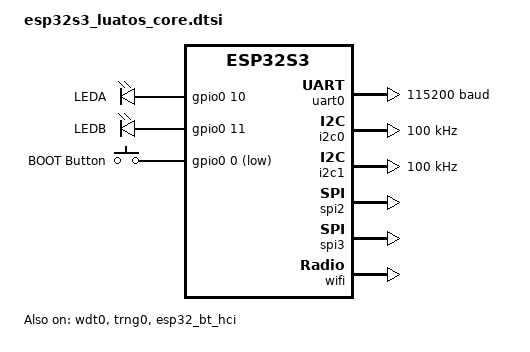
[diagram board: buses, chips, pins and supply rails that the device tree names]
/*
 * Copyright (c) 2023 YuLong Yao <feilongphone@gmail.com>
 *
 * SPDX-License-Identifier: Apache-2.0
 */

#include <espressif/esp32s3/esp32s3_mini_n8.dtsi>
#include "esp32s3_luatos_core-pinctrl.dtsi"
#include <zephyr/dt-bindings/input/input-event-codes.h>
#include <espressif/partitions_0x0_amp.dtsi>

/ {
	leds {
		compatible = "gpio-leds";

		led0: led0 {
			gpios = <&gpio0 10 GPIO_ACTIVE_HIGH>;
			label = "LEDA";
		};

		led1: led1 {
			gpios = <&gpio0 11 GPIO_ACTIVE_HIGH>;
			label = "LEDB";
		};
	};

	buttons {
		compatible = "gpio-keys";

		button0: button_0 {
			gpios = <&gpio0 0 (GPIO_PULL_UP | GPIO_ACTIVE_LOW)>;
			label = "BOOT Button";
			zephyr,code = <INPUT_KEY_0>;
		};
	};
};

&uart0 {
	status = "okay";
	current-speed = <115200>;
	pinctrl-0 = <&uart0_default>;
	pinctrl-names = "default";
};

&gpio0 {
	status = "okay";
};

&gpio1 {
	status = "okay";
};

&i2c0 {
	clock-frequency = <I2C_BITRATE_STANDARD>;
	pinctrl-0 = <&i2c0_default>;
	pinctrl-names = "default";
};

&i2c1 {
	clock-frequency = <I2C_BITRATE_STANDARD>;
	pinctrl-0 = <&i2c1_default>;
	pinctrl-names = "default";
};

&spi2 {
	#address-cells = <1>;
	#size-cells = <0>;
	status = "okay";
	pinctrl-0 = <&spim2_default>;
	pinctrl-names = "default";
};

&spi3 {
	#address-cells = <1>;
	#size-cells = <0>;
	status = "okay";
	pinctrl-0 = <&spim3_default>;
	pinctrl-names = "default";
};

&twai {
	pinctrl-0 = <&twai_default>;
	pinctrl-names = "default";
};

&timer0 {
	status = "disabled";
};

&timer1 {
	status = "disabled";
};

&timer2 {
	status = "disabled";
};

&timer3 {
	status = "disabled";
};

&wdt0 {
	status = "okay";
};

&trng0 {
	status = "okay";
};

&esp32_bt_hci {
	status = "okay";
};

&wifi {
	status = "okay";
};
